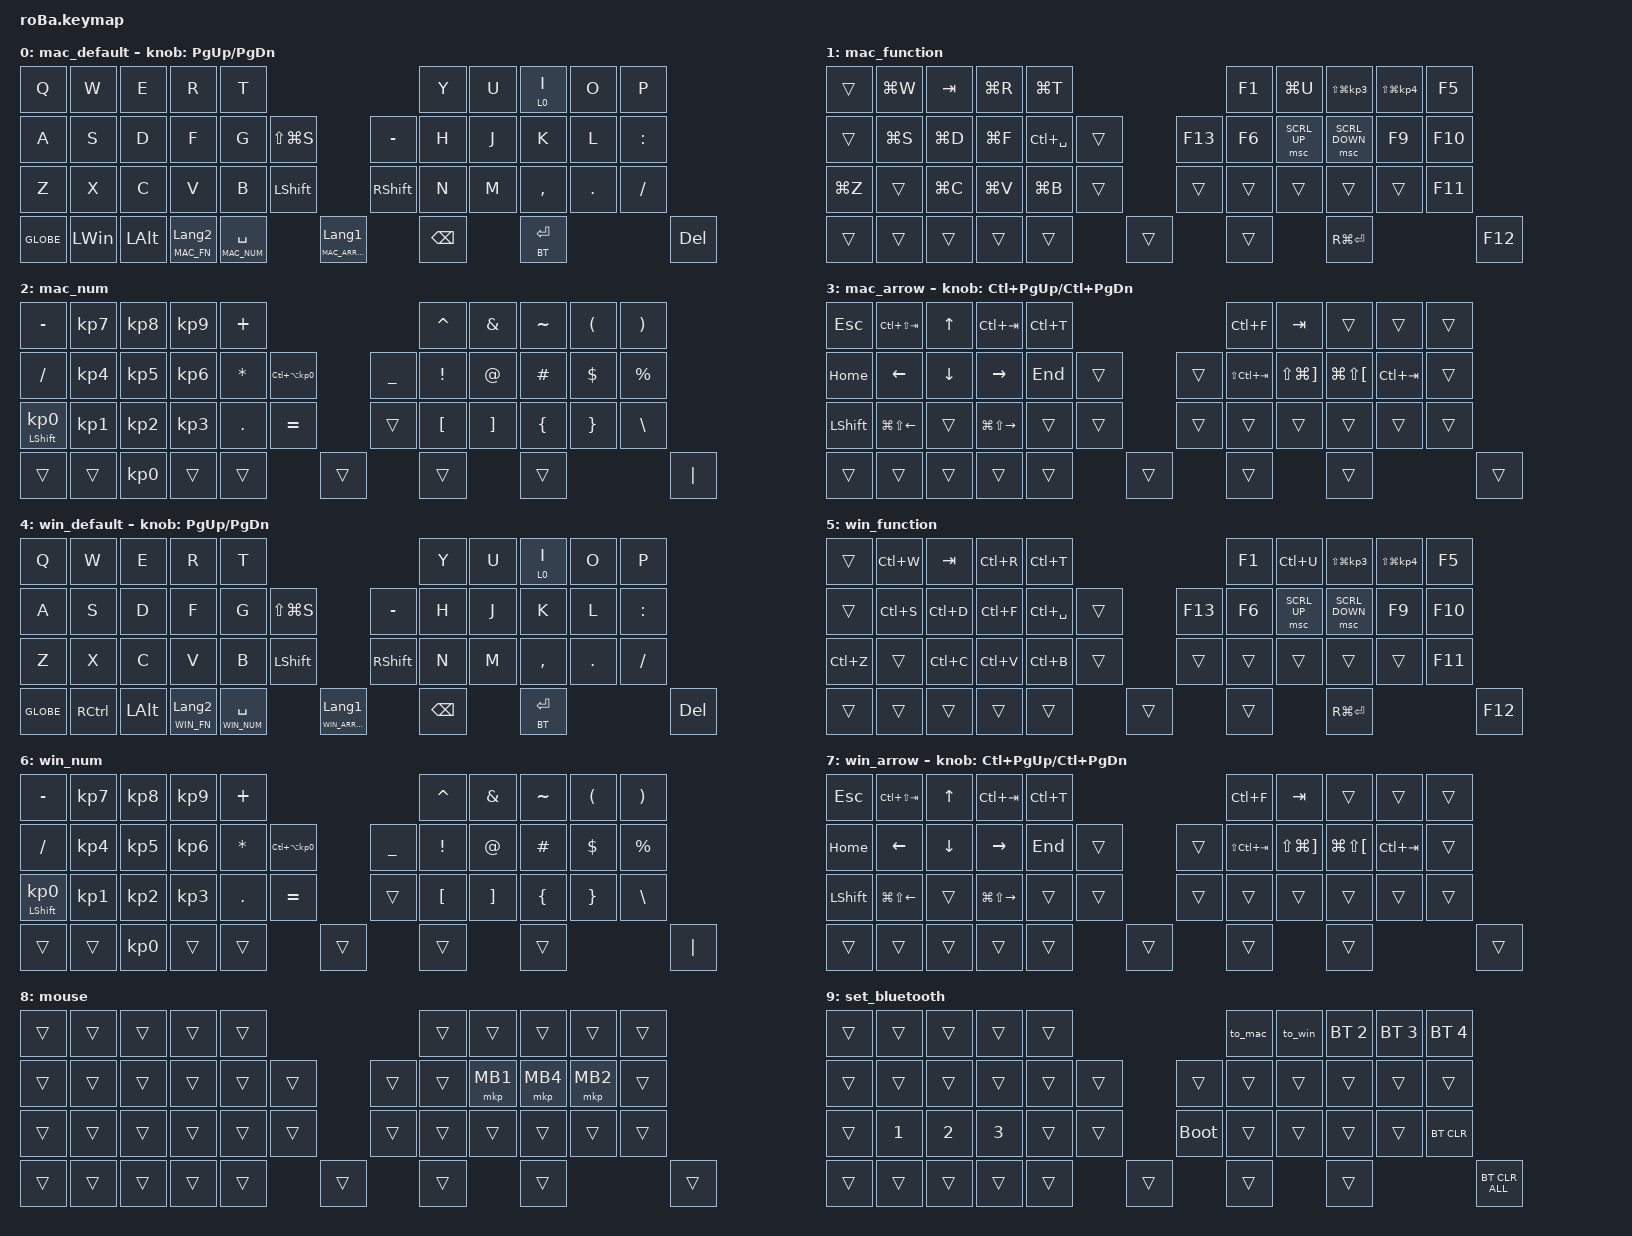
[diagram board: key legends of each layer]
#include <behaviors.dtsi>
#include <dt-bindings/zmk/bt.h>
#include <dt-bindings/zmk/keys.h>
#include <dt-bindings/zmk/pointing.h>

#define JP_KANA LANGUAGE_1
#define JP_EISU LANGUAGE_2

#define MAC       0
#define MAC_FN    1
#define MAC_NUM   2
#define MAC_ARROW 3
#define WIN       4
#define WIN_FN    5
#define WIN_NUM   6
#define WIN_ARROW 7
#define MOUSE     8
#define BT        9

&mt {
    flavor = "balanced";
    quick-tap-ms = <0>;
};

&trackball {
    automouse-layer = <MOUSE>;
    scroll-layers = <BT>;

    // arrows {
    //     layers = <3>;
    //     bindings =
    //         <&kp RIGHT_ARROW>,
    //         <&kp LEFT_ARROW>,
    //         <&kp UP_ARROW>,
    //         <&kp DOWN_ARROW>;
    //     tick = <10>;
    //     wait-ms = <5>;
    //     tap-ms = <5>;
    // };
};

/ {
    combos {
        compatible = "zmk,combos";

        tab {
            bindings = <&kp TAB>;
            key-positions = <11 12>;
        };

        shift_tab {
            bindings = <&kp LS(TAB)>;
            key-positions = <12 13>;
        };

        muhennkann {
            bindings = <&to_layer_0 INT_MUHENKAN>;
            key-positions = <11 10>;
            layers = <MAC MAC_FN MAC_NUM MAC_ARROW>;
        };

        muhennkann_win {
            bindings = <&to_layer_win INT_MUHENKAN>;
            key-positions = <11 10>;
            layers = <WIN WIN_FN WIN_NUM WIN_ARROW>;
        };

        muhennkann_mouse {
            bindings = <&kp INT_MUHENKAN>;
            key-positions = <11 10>;
            layers = <MOUSE BT>;
        };

        double_quotation {
            bindings = <&kp DOUBLE_QUOTES>;
            key-positions = <20 21>;
        };

        eq {
            bindings = <&kp EQUAL>;
            key-positions = <24 25>;
        };
    };

    macros {
        to_layer_0: to_layer_0 {
            compatible = "zmk,behavior-macro-one-param";
            #binding-cells = <1>;
            bindings = <&to MAC &macro_param_1to1 &kp MACRO_PLACEHOLDER>;
            label = "TO_LAYER_0";
        };

        to_layer_win: to_layer_win {
            compatible = "zmk,behavior-macro-one-param";
            #binding-cells = <1>;
            bindings = <&to WIN &macro_param_1to1 &kp MACRO_PLACEHOLDER>;
            label = "TO_LAYER_WIN";
        };

        to_mac: to_mac {
            compatible = "zmk,behavior-macro";
            #binding-cells = <0>;
            bindings = <&none &bt BT_SEL 0 &to MAC>;
            label = "TO_MAC";
        };

        to_win: to_win {
            compatible = "zmk,behavior-macro";
            #binding-cells = <0>;
            bindings = <&none &bt BT_SEL 1 &to WIN>;
            label = "TO_WIN";
        };
    };

    behaviors {
        lt_to_layer_0: lt_to_layer_0 {
            compatible = "zmk,behavior-hold-tap";
            label = "LAYER_TAP_TO_0";
            bindings = <&mo>, <&to_layer_0>;

            #binding-cells = <2>;
            tapping-term-ms = <200>;
        };

        lt_to_layer_win: lt_to_layer_win {
            compatible = "zmk,behavior-hold-tap";
            label = "LAYER_TAP_TO_WIN";
            bindings = <&mo>, <&to_layer_win>;

            #binding-cells = <2>;
            tapping-term-ms = <200>;
        };
    };

    keymap {
        compatible = "zmk,keymap";

        mac_default {
            bindings = <
&kp Q      &kp W         &kp E         &kp R                        &kp T                                                          &kp Y        &kp U  &lt 0 I    &kp O    &kp P
&kp A      &kp S         &kp D         &kp F                        &kp G        &kp LS(LG(S))                    &kp MINUS        &kp H        &kp J  &kp K      &kp L    &kp COLON
&kp Z      &kp X         &kp C         &kp V                        &kp B        &kp LEFT_SHIFT                   &kp RIGHT_SHIFT  &kp N        &kp M  &kp COMMA  &kp DOT  &kp SLASH
&kp GLOBE  &kp LEFT_WIN  &kp LEFT_ALT  &lt_to_layer_0 MAC_FN LANGUAGE_2  &lt MAC_NUM SPACE  &lt_to_layer_0 MAC_ARROW LANGUAGE_1      &kp BACKSPACE    &lt BT ENTER                             &kp DEL
            >;

            sensor-bindings = <&inc_dec_kp PG_UP PAGE_DOWN>;
        };

        mac_function {
            bindings = <
&trans     &kp LG(W)  &kp TAB    &kp LG(R)  &kp LG(T)                           &kp F1         &kp LG(U)     &kp LS(LG(KP_NUMBER_3))  &kp LS(LG(KP_NUMBER_4))  &kp F5
&trans     &kp LG(S)  &kp LG(D)  &kp LG(F)  &kp LC(SPACE)  &trans      &kp F13  &kp F6         &msc SCRL_UP  &msc SCRL_DOWN           &kp F9                   &kp F10
&kp LG(Z)  &trans     &kp LG(C)  &kp LG(V)  &kp LG(B)      &trans      &trans   &trans         &trans        &trans                   &trans                   &kp F11
&trans     &trans     &trans     &trans     &trans         &trans      &trans   &kp RG(ENTER)                                                                  &kp F12
            >;
        };

        mac_num {
            bindings = <
&kp MINUS                   &kp KP_NUMBER_7  &kp KP_NUMBER_8  &kp KP_NUMBER_9  &kp PLUS                                                   &kp CARET         &kp AMPERSAND      &kp TILDE       &kp LEFT_PARENTHESIS  &kp RIGHT_PARENTHESIS
&kp SLASH                   &kp KP_NUMBER_4  &kp KP_NUMBER_5  &kp KP_NUMBER_6  &kp ASTERISK  &kp LC(LA(KP_NUMBER_0))      &kp UNDERSCORE  &kp EXCLAMATION   &kp AT_SIGN        &kp HASH        &kp DOLLAR            &kp PERCENT
&mt LEFT_SHIFT KP_NUMBER_0  &kp KP_NUMBER_1  &kp KP_NUMBER_2  &kp KP_NUMBER_3  &kp PERIOD    &kp EQUAL                    &trans          &kp LEFT_BRACKET  &kp RIGHT_BRACKET  &kp LEFT_BRACE  &kp RIGHT_BRACE       &kp BACKSLASH
&trans                      &trans           &kp KP_NUMBER_0  &trans           &trans        &trans                       &trans          &trans                                                                     &kp PIPE
            >;
        };

        mac_arrow {
            bindings = <
&kp ESCAPE      &kp LC(LS(TAB))         &kp UP_ARROW    &kp LC(TAB)              &kp LC(T)                      &kp LC(F)        &kp TAB                    &trans                    &trans       &trans
&kp HOME        &kp LEFT_ARROW          &kp DOWN_ARROW  &kp RIGHT_ARROW          &kp END    &trans      &trans  &kp LS(LC(TAB))  &kp LS(LG(RIGHT_BRACKET))  &kp LG(LS(LEFT_BRACKET))  &kp LC(TAB)  &trans
&kp LEFT_SHIFT  &kp LG(LS(LEFT_ARROW))  &trans          &kp LG(LS(RIGHT_ARROW))  &trans     &trans      &trans  &trans           &trans                     &trans                    &trans       &trans
&trans          &trans                  &trans          &trans                   &trans     &trans      &trans  &trans                                                                             &trans
            >;

            sensor-bindings = <&inc_dec_kp LC(PAGE_UP) LC(PAGE_DOWN)>;
        };

        win_default {
            bindings = <
&kp Q      &kp W      &kp E         &kp R                        &kp T                                                          &kp Y        &kp U  &lt 0 I    &kp O    &kp P
&kp A      &kp S      &kp D         &kp F                        &kp G        &kp LS(LG(S))                    &kp MINUS        &kp H        &kp J  &kp K      &kp L    &kp COLON
&kp Z      &kp X      &kp C         &kp V                        &kp B        &kp LEFT_SHIFT                   &kp RIGHT_SHIFT  &kp N        &kp M  &kp COMMA  &kp DOT  &kp SLASH
&kp GLOBE  &kp RCTRL  &kp LEFT_ALT  &lt_to_layer_win WIN_FN LANGUAGE_2  &lt WIN_NUM SPACE  &lt_to_layer_win WIN_ARROW LANGUAGE_1      &kp BACKSPACE    &lt BT ENTER                             &kp DEL
            >;

            sensor-bindings = <&inc_dec_kp PG_UP PAGE_DOWN>;
        };

        win_function {
            bindings = <
&trans     &kp LC(W)  &kp TAB    &kp LC(R)  &kp LC(T)                           &kp F1         &kp LC(U)     &kp LS(LG(KP_NUMBER_3))  &kp LS(LG(KP_NUMBER_4))  &kp F5
&trans     &kp LC(S)  &kp LC(D)  &kp LC(F)  &kp LC(SPACE)  &trans      &kp F13  &kp F6         &msc SCRL_UP  &msc SCRL_DOWN           &kp F9                   &kp F10
&kp LC(Z)  &trans     &kp LC(C)  &kp LC(V)  &kp LC(B)      &trans      &trans   &trans         &trans        &trans                   &trans                   &kp F11
&trans     &trans     &trans     &trans     &trans         &trans      &trans   &kp RG(ENTER)                                                                  &kp F12
            >;
        };

        win_num {
            bindings = <
&kp MINUS                   &kp KP_NUMBER_7  &kp KP_NUMBER_8  &kp KP_NUMBER_9  &kp PLUS                                                   &kp CARET         &kp AMPERSAND      &kp TILDE       &kp LEFT_PARENTHESIS  &kp RIGHT_PARENTHESIS
&kp SLASH                   &kp KP_NUMBER_4  &kp KP_NUMBER_5  &kp KP_NUMBER_6  &kp ASTERISK  &kp LC(LA(KP_NUMBER_0))      &kp UNDERSCORE  &kp EXCLAMATION   &kp AT_SIGN        &kp HASH        &kp DOLLAR            &kp PERCENT
&mt LEFT_SHIFT KP_NUMBER_0  &kp KP_NUMBER_1  &kp KP_NUMBER_2  &kp KP_NUMBER_3  &kp PERIOD    &kp EQUAL                    &trans          &kp LEFT_BRACKET  &kp RIGHT_BRACKET  &kp LEFT_BRACE  &kp RIGHT_BRACE       &kp BACKSLASH
&trans                      &trans           &kp KP_NUMBER_0  &trans           &trans        &trans                       &trans          &trans                                                                     &kp PIPE
            >;
        };

        win_arrow {
            bindings = <
&kp ESCAPE      &kp LC(LS(TAB))         &kp UP_ARROW    &kp LC(TAB)              &kp LC(T)                      &kp LC(F)        &kp TAB                    &trans                    &trans       &trans
&kp HOME        &kp LEFT_ARROW          &kp DOWN_ARROW  &kp RIGHT_ARROW          &kp END    &trans      &trans  &kp LS(LC(TAB))  &kp LS(LG(RIGHT_BRACKET))  &kp LG(LS(LEFT_BRACKET))  &kp LC(TAB)  &trans
&kp LEFT_SHIFT  &kp LG(LS(LEFT_ARROW))  &trans          &kp LG(LS(RIGHT_ARROW))  &trans     &trans      &trans  &trans           &trans                     &trans                    &trans       &trans
&trans          &trans                  &trans          &trans                   &trans     &trans      &trans  &trans                                                                             &trans
            >;

            sensor-bindings = <&inc_dec_kp LC(PAGE_UP) LC(PAGE_DOWN)>;
        };

        mouse {
            bindings = <
&trans  &trans  &trans  &trans  &trans                      &trans  &trans    &trans    &trans    &trans
&trans  &trans  &trans  &trans  &trans  &trans      &trans  &trans  &mkp MB1  &mkp MB4  &mkp MB2  &trans
&trans  &trans  &trans  &trans  &trans  &trans      &trans  &trans  &trans    &trans    &trans    &trans
&trans  &trans  &trans  &trans  &trans  &trans      &trans  &trans                                &trans
            >;
        };

        set_bluetooth {
            bindings = <
&trans  &trans        &trans        &trans        &trans                           &to_mac  &to_win  &bt BT_SEL 2  &bt BT_SEL 3  &bt BT_SEL 4
&trans  &trans        &trans        &trans        &trans  &trans      &trans       &trans   &trans   &trans        &trans        &trans
&trans  &kp NUMBER_1  &kp NUMBER_2  &kp NUMBER_3  &trans  &trans      &bootloader  &trans   &trans   &trans        &trans        &bt BT_CLR
&trans  &trans        &trans        &trans        &trans  &trans      &trans       &trans                                        &bt BT_CLR_ALL
            >;
        };
    };
};
